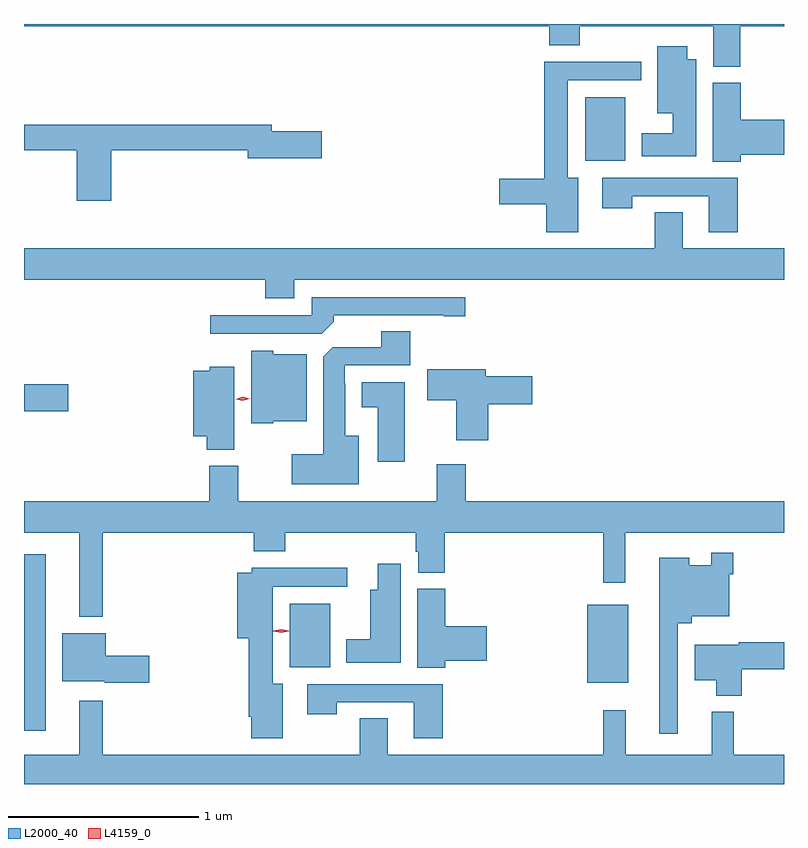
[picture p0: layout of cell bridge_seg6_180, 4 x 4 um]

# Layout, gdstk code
import gdstk
lib = gdstk.Library(unit=1e-6, precision=1e-09)
def R(c, l, rs):  # rectangles x0, y0, x1, y1
    for r in rs: c.add(gdstk.rectangle(r[:2], r[2:], *l))
def P(c, l, *ps):  # polygons
    for p in ps: c.add(gdstk.Polygon(p, *l))
L2000_40 = (2000, 40)
L4159_0 = (4159, 0)

bridge_seg6_180 = lib.new_cell('bridge_seg6_180')
R(bridge_seg6_180, L2000_40, [(337.549,928.977,337.663,929.905), (340.514,929.231,340.729,929.641), (338.948,929.312,339.16,929.647), (337.549,930.658,337.783,930.8), (340.502,931.976,340.714,932.311)])
P(bridge_seg6_180, L2000_40, [(341.318,932.684),(341.549,932.684),(341.549,932.697),(337.549,932.697),(337.549,932.684),(340.313,932.684),(340.313,932.585),(340.473,932.585),(340.473,932.684),(341.177,932.684),(341.177,932.473),(341.318,932.473)],
  [(341.086,932.512),(341.041,932.512),(341.041,932.581),(340.883,932.581),(340.883,932.228),(340.964,932.228),(340.964,932.122),(340.799,932.122),(340.799,932),(341.086,932)],
  [(340.465,931.888),(340.411,931.888),(340.411,932.4),(340.798,932.4),(340.798,932.498),(340.286,932.498),(340.286,931.883),(340.05,931.883),(340.05,931.748),(340.298,931.748),(340.298,931.602),(340.465,931.602)],
  [(341.321,932.009),(341.549,932.009),(341.549,932.192),(341.321,932.192),(341.321,932.388),(341.174,932.388),(341.174,931.972),(341.321,931.972)],
  [(338.009,932.032),(338.726,932.032),(338.726,931.99),(339.115,931.99),(339.115,932.132),(338.854,932.132),(338.854,932.168),(337.549,932.168),(337.549,932.032),(337.826,932.032),(337.826,931.767),(338.009,931.767)],
  [(341.306,931.887),(340.593,931.887),(340.593,931.728),(340.749,931.728),(340.749,931.791),(341.153,931.791),(341.153,931.602),(341.306,931.602)],
  [(338.971,931.352),(341.549,931.352),(341.549,931.516),(341.017,931.516),(341.017,931.706),(340.87,931.706),(340.87,931.516),(337.549,931.516),(337.549,931.352),(338.819,931.352),(338.819,931.253),(338.971,931.253)],
  [(339.179,931.13),(339.179,931.164),(339.758,931.164),(339.758,931.159),(339.871,931.159),(339.871,931.26),(339.063,931.26),(339.063,931.164),(338.529,931.164),(338.529,931.068),(339.117,931.068)],
  [(339.31,930.529),(339.241,930.529),(339.241,930.803),(339.237,930.803),(339.237,930.9),(339.581,930.9),(339.581,931.079),(339.428,931.079),(339.428,930.996),(339.174,930.996),(339.125,930.947),(339.125,930.433),(338.958,930.433),(338.958,930.275),(339.31,930.275)],
  [(338.862,930.605),(339.037,930.605),(339.037,930.958),(338.862,930.958),(338.862,930.976),(338.744,930.976),(338.744,930.596),(338.862,930.596)],
  [(338.656,930.892),(338.526,930.892),(338.526,930.871),(338.441,930.871),(338.441,930.527),(338.51,930.527),(338.51,930.457),(338.656,930.457)],
  [(339.992,930.695),(340.225,930.695),(340.225,930.842),(339.979,930.842),(339.979,930.88),(339.672,930.88),(339.672,930.718),(339.824,930.718),(339.824,930.507),(339.992,930.507)],
  [(339.553,930.811),(339.326,930.811),(339.326,930.68),(339.41,930.68),(339.41,930.393),(339.553,930.393)],
  [(337.963,930.02),(338.759,930.02),(338.759,929.921),(338.924,929.921),(338.924,930.02),(339.611,930.02),(339.611,929.919),(339.623,929.919),(339.623,929.809),(339.764,929.809),(339.764,930.02),(340.597,930.02),(340.597,929.757),(340.714,929.757),(340.714,930.02),(341.549,930.02),(341.549,930.184),(339.875,930.184),(339.875,930.379),(339.722,930.379),(339.722,930.184),(338.677,930.184),(338.677,930.372),(338.525,930.372),(338.525,930.184),(337.549,930.184),(337.549,930.02),(337.841,930.02),(337.841,929.576),(337.963,929.576)],
  [(340.989,929.543),(341.063,929.543),(341.063,929.579),(341.262,929.579),(341.262,929.801),(341.282,929.801),(341.282,929.914),(341.166,929.914),(341.166,929.848),(341.05,929.848),(341.05,929.887),(340.892,929.887),(340.892,928.962),(340.989,928.962)],
  [(339.532,929.857),(339.41,929.857),(339.41,929.719),(339.371,929.719),(339.371,929.458),(339.245,929.458),(339.245,929.336),(339.532,929.336)],
  [(338.911,929.224),(338.857,929.224),(338.857,929.736),(339.25,929.736),(339.25,929.834),(338.748,929.834),(338.748,929.809),(338.672,929.809),(338.672,929.465),(338.732,929.465),(338.732,929.05),(338.744,929.05),(338.744,928.938),(338.911,928.938)],
  [(339.767,929.345),(339.985,929.345),(339.985,929.528),(339.767,929.528),(339.767,929.724),(339.62,929.724),(339.62,929.308),(339.767,929.308)],
  [(338.209,929.372),(337.978,929.372),(337.978,929.491),(337.751,929.491),(337.751,929.237),(337.974,929.237),(337.974,929.23),(338.209,929.23)],
  [(341.327,929.302),(341.549,929.302),(341.549,929.444),(341.31,929.444),(341.31,929.431),(341.078,929.431),(341.078,929.243),(341.192,929.243),(341.192,929.162),(341.327,929.162)],
  [(339.752,929.223),(339.039,929.223),(339.039,929.064),(339.195,929.064),(339.195,929.127),(339.599,929.127),(339.599,928.938),(339.752,928.938)],
  [(341.549,928.852),(341.285,928.852),(341.285,929.077),(341.168,929.077),(341.168,928.852),(340.715,928.852),(340.715,929.086),(340.597,929.086),(340.597,928.852),(339.463,928.852),(339.463,929.042),(339.316,929.042),(339.316,928.852),(337.963,928.852),(337.963,929.134),(337.841,929.134),(337.841,928.852),(337.549,928.852),(337.549,928.697),(341.549,928.697)])
P(bridge_seg6_180, L4159_0, [(338.902,929.492),(338.861,929.502),(338.861,929.502),(338.861,929.503),(338.902,929.512),(338.943,929.503),(338.943,929.502),(338.943,929.502)],
  [(338.7,930.714),(338.663,930.723),(338.663,930.723),(338.663,930.723),(338.7,930.734),(338.737,930.725),(338.737,930.724),(338.737,930.724)])

lib.write_gds('bridge_seg6_180.gds')
